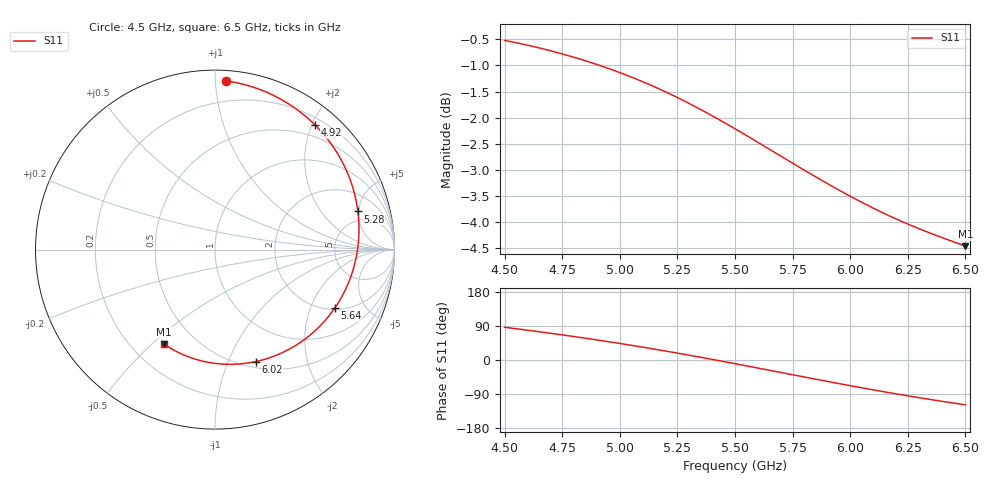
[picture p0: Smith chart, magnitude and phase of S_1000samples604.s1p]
! TOUCHSTONE file generated by CST MICROWAVE STUDIO
! Date and time: Fri Oct 28 18:02:58 2022
! Project name: L.cst
! Parameters = {Di=1.27; Epsilon_r=1.56; InnerDiameter=1.27; Length=2; Lf=10; Lg=60; OuterConductorThickness=0.2921; OuterDiameter=3.6; Wf=3; Wp=41.2; de=1.5; df=6.8; g=0.8; gx=1.66814; gy=2.98532; h=2.34; hf=1.524; px=9.50157; py=9.25234; w=9.7; wx=7.83343; wy=6.26702}
! Header version: 2018
! Port assignment regex: !\s*Touchstone port\s*([0-9]+)\s*=\s*(CST MWS port|CST DS port)\s*([0-9]+|Zmin|Zmax)\s*\(\"(.*)\"\)(\s*mode\s*([0-9]+))?.*
! Touchstone port assignment:
! Touchstone port 1 = CST MWS port 1 ("")
# GHz S DB R 50
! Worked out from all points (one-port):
!   101 points, 4.5 GHz to 6.5 GHz, reference 50 ohm
!   lowest |S11| = -4.5 dB at 6.5 GHz (marker M1), VSWR 3.97, Z = 16.7 - j27.4 ohm
!   |S11| at or under -10 dB: nowhere
!   S11 on the Smith chart (normalised r, x): 4.5 GHz: 0.06, +1.06; 4.92 GHz: 0.31, +2.05; 5.28 GHz: 3.71, +4.90; 5.64 GHz: 2.07, -3.01; 6.02 GHz: 0.57, -1.26; 6.5 GHz: 0.33, -0.55
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4.5  -0.52 86.4
4.58  -0.59 80.2
4.64  -0.65 75.4
4.76  -0.79 65.4
4.84  -0.90 58.4
4.92  -1.01 51.1
5  -1.14 43.6
5.08  -1.28 35.8
5.14  -1.39 29.7
5.2  -1.51 23.5
5.26  -1.64 17.1
5.28  -1.68 14.9
5.38  -1.92 3.9
5.44  -2.06 -2.8
5.5  -2.22 -9.7
5.56  -2.37 -16.6
5.64  -2.58 -26.0
5.7  -2.74 -33.0
5.76  -2.90 -40.1
5.82  -3.06 -47.1
5.88  -3.22 -54.1
5.94  -3.37 -61.0
6  -3.51 -67.8
6.02  -3.56 -70.0
6.14  -3.83 -83.1
6.26  -4.06 -95.5
6.38  -4.28 -107.3
6.5  -4.47 -118.2
